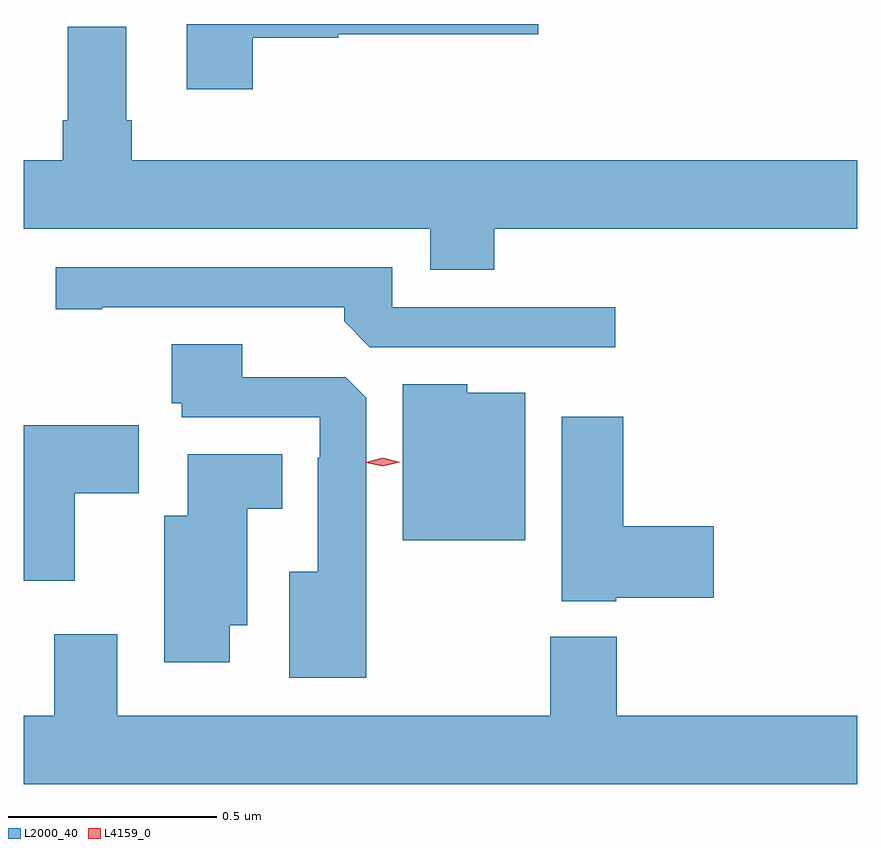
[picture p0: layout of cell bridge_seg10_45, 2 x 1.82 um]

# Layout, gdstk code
import gdstk
lib = gdstk.Library(unit=1e-6, precision=1e-09)
def P(c, l, *ps):  # polygons
    for p in ps: c.add(gdstk.Polygon(p, *l))
L2000_40 = (2000, 40)
L4159_0 = (4159, 0)

bridge_seg10_45 = lib.new_cell('bridge_seg10_45')
P(bridge_seg10_45, L2000_40, [(891.659,1270.138),(891.864,1270.138),(891.864,1270.146),(892.343,1270.146),(892.343,1270.171),(891.5,1270.171),(891.5,1270.014),(891.659,1270.014)],
  [(892.238,1269.68),(893.109,1269.68),(893.109,1269.844),(891.368,1269.844),(891.368,1269.94),(891.355,1269.94),(891.355,1270.165),(891.215,1270.165),(891.215,1269.94),(891.203,1269.94),(891.203,1269.844),(891.109,1269.844),(891.109,1269.68),(892.085,1269.68),(892.085,1269.581),(892.238,1269.581)],
  [(892.528,1269.492),(891.993,1269.492),(891.993,1269.588),(891.186,1269.588),(891.186,1269.487),(891.298,1269.487),(891.298,1269.492),(891.878,1269.492),(891.878,1269.458),(891.939,1269.396),(892.528,1269.396)],
  [(891.931,1269.275),(891.882,1269.324),(891.634,1269.324),(891.634,1269.403),(891.464,1269.403),(891.464,1269.261),(891.488,1269.261),(891.488,1269.228),(891.819,1269.228),(891.819,1269.131),(891.815,1269.131),(891.815,1268.857),(891.746,1268.857),(891.746,1268.603),(891.931,1268.603)],
  [(892.312,1269.286),(892.173,1269.286),(892.173,1269.307),(892.019,1269.307),(892.019,1268.933),(892.312,1268.933)],
  [(892.53,1268.795),(892.765,1268.795),(892.765,1268.966),(892.547,1268.966),(892.547,1269.229),(892.4,1269.229),(892.4,1268.786),(892.53,1268.786)],
  [(891.232,1269.046),(891.385,1269.046),(891.385,1269.208),(891.109,1269.208),(891.109,1268.835),(891.232,1268.835)],
  [(891.604,1268.729),(891.646,1268.729),(891.646,1269.008),(891.73,1269.008),(891.73,1269.139),(891.503,1269.139),(891.503,1268.992),(891.446,1268.992),(891.446,1268.64),(891.604,1268.64)],
  [(893.109,1268.512),(892.532,1268.512),(892.532,1268.701),(892.372,1268.701),(892.372,1268.512),(891.334,1268.512),(891.334,1268.707),(891.182,1268.707),(891.182,1268.512),(891.109,1268.512),(891.109,1268.348),(893.109,1268.348)])
P(bridge_seg10_45, L4159_0, [(891.971,1269.11),(891.93,1269.119),(891.93,1269.119),(891.93,1269.12),(891.971,1269.13),(892.012,1269.12),(892.012,1269.12),(892.012,1269.12)])

lib.write_gds('bridge_seg10_45.gds')
